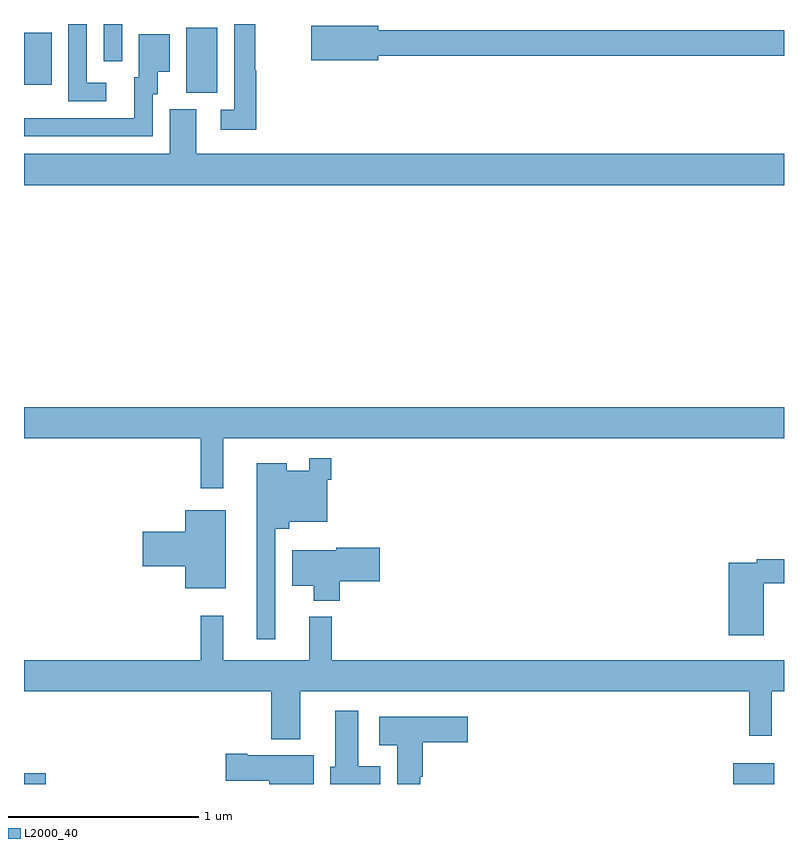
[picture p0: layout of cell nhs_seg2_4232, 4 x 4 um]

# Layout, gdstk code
import gdstk
lib = gdstk.Library(unit=1e-6, precision=1e-09)
def R(c, l, rs):  # rectangles x0, y0, x1, y1
    for r in rs: c.add(gdstk.rectangle(r[:2], r[2:], *l))
def P(c, l, *ps):  # polygons
    for p in ps: c.add(gdstk.Polygon(p, *l))
L2000_40 = (2000, 40)

nhs_seg2_4232 = lib.new_cell('nhs_seg2_4232')
R(nhs_seg2_4232, L2000_40, [(339,661.8,339.115,661.857), (342.734,661.8,342.949,661.909), (339.854,665.437,340.018,665.78), (339,665.481,339.145,665.755), (339.42,665.604,339.516,665.8)])
P(nhs_seg2_4232, L2000_40, [(339.433,665.49),(339.33,665.49),(339.33,665.8),(339.234,665.8),(339.234,665.394),(339.433,665.394)],
  [(340.223,665.556),(340.216,665.556),(340.216,665.8),(340.107,665.8),(340.107,665.349),(340.035,665.349),(340.035,665.244),(340.223,665.244)],
  [(340.864,665.632),(343,665.632),(343,665.768),(340.864,665.768),(340.864,665.792),(340.512,665.792),(340.512,665.609),(340.864,665.609)],
  [(339.678,665.43),(339.703,665.43),(339.703,665.549),(339.766,665.549),(339.766,665.746),(339.605,665.746),(339.605,665.52),(339.581,665.52),(339.581,665.304),(339.097,665.304),(339.097,665.305),(339,665.305),(339,665.208),(339.678,665.208)],
  [(343,665.116),(339.907,665.116),(339.907,665.352),(339.767,665.352),(339.767,665.116),(339,665.116),(339,664.952),(343,664.952)],
  [(340.048,663.62),(343,663.62),(343,663.784),(339,663.784),(339,663.62),(339.931,663.62),(339.931,663.357),(340.048,663.357)],
  [(340.323,663.143),(340.397,663.143),(340.397,663.179),(340.596,663.179),(340.596,663.401),(340.616,663.401),(340.616,663.514),(340.5,663.514),(340.5,663.448),(340.384,663.448),(340.384,663.487),(340.226,663.487),(340.226,662.562),(340.323,662.562)],
  [(340.063,663.241),(339.848,663.241),(339.848,663.128),(339.624,663.128),(339.624,662.945),(339.848,662.945),(339.848,662.831),(340.063,662.831)],
  [(340.661,662.866),(340.873,662.866),(340.873,663.044),(340.644,663.044),(340.644,663.031),(340.412,663.031),(340.412,662.843),(340.526,662.843),(340.526,662.765),(340.661,662.765)],
  [(342.893,662.856),(343,662.856),(343,662.984),(342.856,662.984),(342.856,662.964),(342.71,662.964),(342.71,662.583),(342.893,662.583)],
  [(340.049,662.686),(339.931,662.686),(339.931,662.452),(339,662.452),(339,662.288),(340.301,662.288),(340.301,662.036),(340.453,662.036),(340.453,662.288),(342.817,662.288),(342.817,662.055),(342.935,662.055),(342.935,662.288),(343,662.288),(343,662.452),(340.619,662.452),(340.619,662.68),(340.502,662.68),(340.502,662.452),(340.049,662.452)],
  [(340.876,661.894),(340.759,661.894),(340.759,662.185),(340.637,662.185),(340.637,661.89),(340.613,661.89),(340.613,661.8),(340.876,661.8)],
  [(341.086,661.837),(341.099,661.837),(341.099,662.021),(341.335,662.021),(341.335,662.155),(340.869,662.155),(340.869,662.003),(340.964,662.003),(340.964,661.8),(341.086,661.8)],
  [(340.525,661.951),(340.174,661.951),(340.174,661.959),(340.062,661.959),(340.062,661.817),(340.292,661.817),(340.292,661.8),(340.525,661.8)])

lib.write_gds('nhs_seg2_4232.gds')
